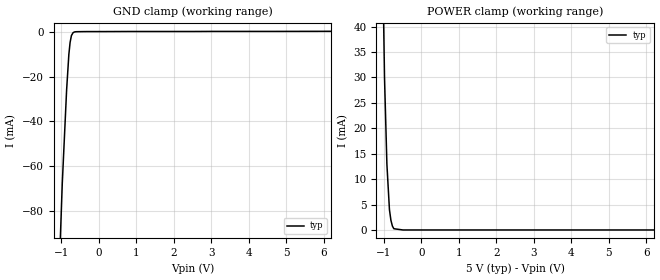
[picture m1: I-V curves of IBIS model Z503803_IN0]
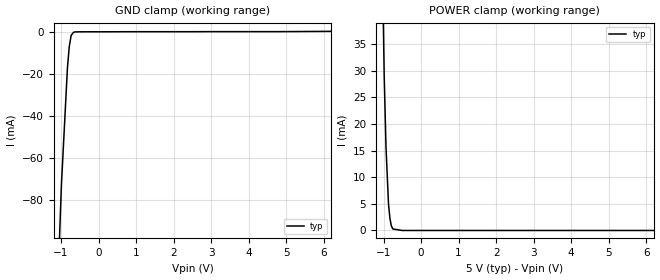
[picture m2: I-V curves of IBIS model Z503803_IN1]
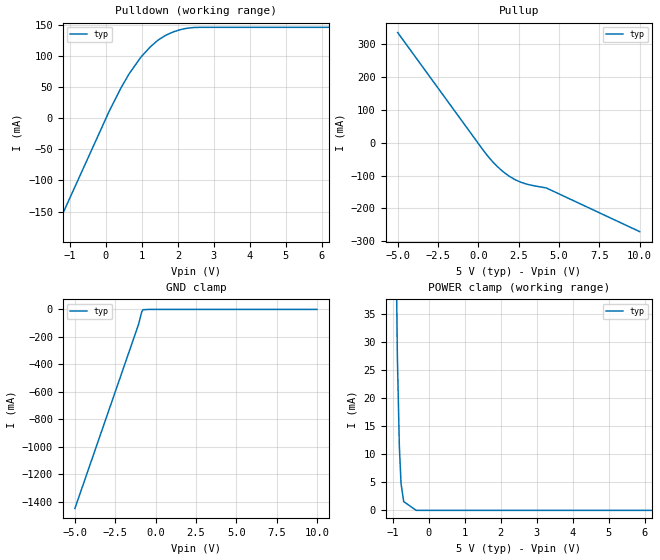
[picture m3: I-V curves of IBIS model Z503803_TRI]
| YOU ARE ONLY AUTHORIZED TO USE THIS SOFTWARE
| ACCORDING TO LICENSOR'S LICENSE RESTRICTIONS.
[IBIS Ver] 3.1
[File Name] mc74ac573n_5.ibs
[File Rev] 2.0
[Source] Measured and created by ICX Technology
[Date] Friday 7/14/00 9:08:00 AM
[Copyright]
| (C) COPYRIGHT 1993-2000
| MENTOR GRAPHICS CORPORATION
| ICX STANDARD LIBRARY, ICX PROJECT MODELING,
| ICX CUSTOM MODELING, ICX VENDOR MODEL
| ALL RIGHTS RESERVED.
| THE FOLLOWING ARE TRADEMARKS OR SERVICE MARKS OF
| MENTOR GRAPHICS CORPORATION:ICX (R), ICX STANDARD
| LIBRARY(R), ICX PROJECT MODELING(R), ICX CUSTOM
| MODELING(R), qualityIBIS(TM), MODELVIEWER(TM),
| AND MODELEDITOR(TM)
| ALL COPIES OF SOFTWARE, INCLUDING BUT NOT LIMITED TO
| ANY MODIFICATIONS, ENHANCEMENTS OR DERIVATIVE WORKS,
| MUST CONTAIN ALL MENTOR GRAPHICS CORPORATION'S
| NOTICES AND LEGENDS, INCLUDING THOSE EMBEDDED IN
| SOFTWARE AND THOSE AFFIXED TO SOFTWARE MEDIUM
| AND CONTAINER, AS RECEIVED FROM MENTOR GRAPHICS
| CORPORATION.
|  ZAP Model Builder 2.7
[Component] MC74AC573N_5
[Manufacturer] OnSemiconductor
[Package]
| variable   typ   min   max
R_pkg  .216ohms NA NA
L_pkg  5.76nH NA NA
C_pkg  1.29pF NA NA
[Pin] signal_name  model_name  R_pin  L_pin C_pin
1 _EN Z503803_IN0 .232 9.76n 1.87p
2 D0 Z503803_IN1 .224 7.26n 1.58p
3 D1 Z503803_IN1 .216 5.26n 1.29p
4 D2 Z503803_IN1 .208 3.76n 1.0p
5 D3 Z503803_IN1 .2 2.76n .71p
6 D4 Z503803_IN1 .2 2.76n .71p
7 D5 Z503803_IN1 .208 3.76n 1.0p
8 D6 Z503803_IN1 .216 5.26n 1.29p
9 D7 Z503803_IN1 .224 7.26n 1.58p
10 GND GND .232 9.76n 1.87p
11 CLK Z503803_IN2 .232 9.76n 1.87p
12 Q7 Z503803_TRI .224 7.26n 1.58p
13 Q6 Z503803_TRI .216 5.26n 1.29p
14 Q5 Z503803_TRI .208 3.76n 1.0p
15 Q4 Z503803_TRI .2 2.76n .71p
16 Q3 Z503803_TRI .2 2.76n .71p
17 Q2 Z503803_TRI .208 3.76n 1.0p
18 Q1 Z503803_TRI .216 5.26n 1.29p
19 Q0 Z503803_TRI .224 7.26n 1.58p
20 VCC POWER .232 9.76n 1.87p
| Models and submodels in the file (4): Z503803_IN0 (Input), Z503803_IN1 (Input), Z503803_IN2 (Input), Z503803_TRI (3-state)
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| (C) COPYRIGHT 1993-2000
| MENTOR GRAPHICS CORPORATION
| ICX STANDARD LIBRARY, ICX PROJECT MODELING,
| ICX CUSTOM MODELING, ICX VENDOR MODEL
| ALL RIGHTS RESERVED.
| THE FOLLOWING ARE TRADEMARKS OR SERVICE MARKS OF
| MENTOR GRAPHICS CORPORATION:ICX (R), ICX STANDARD
| LIBRARY(R), ICX PROJECT MODELING(R), ICX CUSTOM
| MODELING(R), qualityIBIS(TM), MODELVIEWER(TM),
| AND MODELEDITOR(TM)
| ALL COPIES OF SOFTWARE, INCLUDING BUT NOT LIMITED TO
| ANY MODIFICATIONS, ENHANCEMENTS OR DERIVATIVE WORKS,
| MUST CONTAIN ALL MENTOR GRAPHICS CORPORATION'S
| NOTICES AND LEGENDS, INCLUDING THOSE EMBEDDED IN
| SOFTWARE AND THOSE AFFIXED TO SOFTWARE MEDIUM
| AND CONTAINER, AS RECEIVED FROM MENTOR GRAPHICS
| CORPORATION.
| Model Application Version 1.89 2/18/99.
[Model] Z503803_IN0
Model_type Input
Vinl = 1.500V
Vinh = 3.500V
C_comp 4.000pF NA NA
| variable typ   min   max
[Voltage Range] 5.000V NA NA
[GND Clamp Reference] 0.000V NA NA
[POWER Clamp Reference] 5.000V NA NA
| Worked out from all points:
|   GND clamp passes 1 mA (typ) near -0.71 V on its own axis
|   POWER clamp passes 1 mA (typ) near -0.78 V on its own axis
[GND Clamp]
-5V       -3.197A    NA         NA
-1.042V   -100.2mA   NA         NA
-975.5mV  -68.23mA   NA         NA
-859.3mV  -26.12mA   NA         NA
-799mV    -10.07mA   NA         NA
-766.1mV  -4.754mA   NA         NA
-730.5mV  -1.653mA   NA         NA
-687mV    -375.8uA   NA         NA
-647.9mV  -19.31uA   NA         NA
10V       366.6uA    NA         NA
[POWER Clamp]
-5V       3.115A     NA         NA
-1.279V   198.2mA    NA         NA
-1.127V   98.85mA    NA         NA
-982mV    30.08mA    NA         NA
-918mV    12.94mA    NA         NA
-850mV    3.986mA    NA         NA
-811mV    1.907mA    NA         NA
-771mV    758.7uA    NA         NA
-732mV    243.5uA    NA         NA
-488mV    0A         NA         NA
10V       0A         NA         NA
| (C) COPYRIGHT 1993-2000
| MENTOR GRAPHICS CORPORATION
| ICX STANDARD LIBRARY, ICX PROJECT MODELING,
| ICX CUSTOM MODELING, ICX VENDOR MODEL
| ALL RIGHTS RESERVED.
| THE FOLLOWING ARE TRADEMARKS OR SERVICE MARKS OF
| MENTOR GRAPHICS CORPORATION:ICX (R), ICX STANDARD
| LIBRARY(R), ICX PROJECT MODELING(R), ICX CUSTOM
| MODELING(R), qualityIBIS(TM), MODELVIEWER(TM),
| AND MODELEDITOR(TM)
| ALL COPIES OF SOFTWARE, INCLUDING BUT NOT LIMITED TO
| ANY MODIFICATIONS, ENHANCEMENTS OR DERIVATIVE WORKS,
| MUST CONTAIN ALL MENTOR GRAPHICS CORPORATION'S
| NOTICES AND LEGENDS, INCLUDING THOSE EMBEDDED IN
| SOFTWARE AND THOSE AFFIXED TO SOFTWARE MEDIUM
| AND CONTAINER, AS RECEIVED FROM MENTOR GRAPHICS
| CORPORATION.
| Model Application Version 1.89 2/18/99.
[Model] Z503803_IN1
Model_type Input
Vinl = 1.500V
Vinh = 3.500V
C_comp 4.000pF NA NA
| variable typ   min   max
[Voltage Range] 5.000V NA NA
[GND Clamp Reference] 0.000V NA NA
[POWER Clamp Reference] 5.000V NA NA
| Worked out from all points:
|   GND clamp passes 1 mA (typ) near -0.70 V on its own axis
|   POWER clamp passes 1 mA (typ) near -0.80 V on its own axis
[GND Clamp]
-5V       -2.45A     NA         NA
-1.082V   -118.1mA   NA         NA
-989.5mV  -72.54mA   NA         NA
-829.9mV  -17.19mA   NA         NA
-781.4mV  -6.946mA   NA         NA
-731mV    -1.637mA   NA         NA
-667.5mV  -124.9uA   NA         NA
10V       717.4uA    NA         NA
[POWER Clamp]
-5V       2.801A     NA         NA
-1.289V   189.3mA    NA         NA
-1.132V   94.85mA    NA         NA
-982mV    28.86mA    NA         NA
-934mV    15.63mA    NA         NA
-868mV    5.042mA    NA         NA
-831mV    2.344mA    NA         NA
-793mV    890.4uA    NA         NA
-751mV    278.4uA    NA         NA
-500.7mV  0A         NA         NA
10V       0A         NA         NA
| (C) COPYRIGHT 1993-2000
| MENTOR GRAPHICS CORPORATION
| ICX STANDARD LIBRARY, ICX PROJECT MODELING,
| ICX CUSTOM MODELING, ICX VENDOR MODEL
| ALL RIGHTS RESERVED.
| THE FOLLOWING ARE TRADEMARKS OR SERVICE MARKS OF
| MENTOR GRAPHICS CORPORATION:ICX (R), ICX STANDARD
| LIBRARY(R), ICX PROJECT MODELING(R), ICX CUSTOM
| MODELING(R), qualityIBIS(TM), MODELVIEWER(TM),
| AND MODELEDITOR(TM)
| ALL COPIES OF SOFTWARE, INCLUDING BUT NOT LIMITED TO
| ANY MODIFICATIONS, ENHANCEMENTS OR DERIVATIVE WORKS,
| MUST CONTAIN ALL MENTOR GRAPHICS CORPORATION'S
| NOTICES AND LEGENDS, INCLUDING THOSE EMBEDDED IN
| SOFTWARE AND THOSE AFFIXED TO SOFTWARE MEDIUM
| AND CONTAINER, AS RECEIVED FROM MENTOR GRAPHICS
| CORPORATION.
| Model Application Version 1.89 2/18/99.
[Model] Z503803_TRI
Model_type 3-state
Vref=0.000V
Rref=500.0ohms
Cref=50.00pF
Vmeas=2.500V
C_comp 8.000pF NA NA
| variable typ   min   max
[Voltage Range] 5.000V NA NA
[POWER Clamp Reference] 5.000V NA NA
[Pullup Reference] 5.000V NA NA
[Pulldown Reference] 0.000V NA NA
[GND Clamp Reference] 0.000V NA NA
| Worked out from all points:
|   slope of the pulldown table from 0 to 0.75 V, typ, clamps not added: 9.32 ohm
|   slope of the pullup table from 0 to 0.75 V, typ, clamps not added: 15.7 ohm
[GND Clamp]
-5V       -1.451A    NA         NA
-1.059V   -110.8mA   NA         NA
-853.6mV  -16.92mA   NA         NA
-776.8mV  -2.243mA   NA         NA
-388.4mV  0A         NA         NA
10V       0A         NA         NA
[Pulldown]
-5V       -639.3mA   NA         NA
93.12mV   11.99mA    NA         NA
430.3mV   50.48mA    NA         NA
645.7mV   72.05mA    NA         NA
976.9mV   99.18mA    NA         NA
1.238V    115.6mA    NA         NA
1.426V    125.1mA    NA         NA
1.68V     134.5mA    NA         NA
1.875V    139.5mA    NA         NA
2.244V    145.2mA    NA         NA
2.603V    146.8mA    NA         NA
10V       146.8mA    NA         NA
[Pullup]
-5V       335.9mA    NA         NA
318mV     -23.62mA   NA         NA
899mV     -58.24mA   NA         NA
1.429V    -83.52mA   NA         NA
1.929V    -102.1mA   NA         NA
2.432V    -115.7mA   NA         NA
3.16V     -127.9mA   NA         NA
4.248V    -138.3mA   NA         NA
10V       -270.5mA   NA         NA
[POWER Clamp]
-5V       3.388A     NA         NA
-1.016V   109.1mA    NA         NA
-873mV    27.8mA     NA         NA
-817mV    11.47mA    NA         NA
-770mV    4.79mA     NA         NA
-696mV    1.562mA    NA         NA
-348mV    0A         NA         NA
10V       0A         NA         NA
[Ramp]
| variable typ min max
dV/dt_r 2.932/641.4p NA NA
dV/dt_f 2.932/727.9p NA NA
R_load = 500.0Ohms
